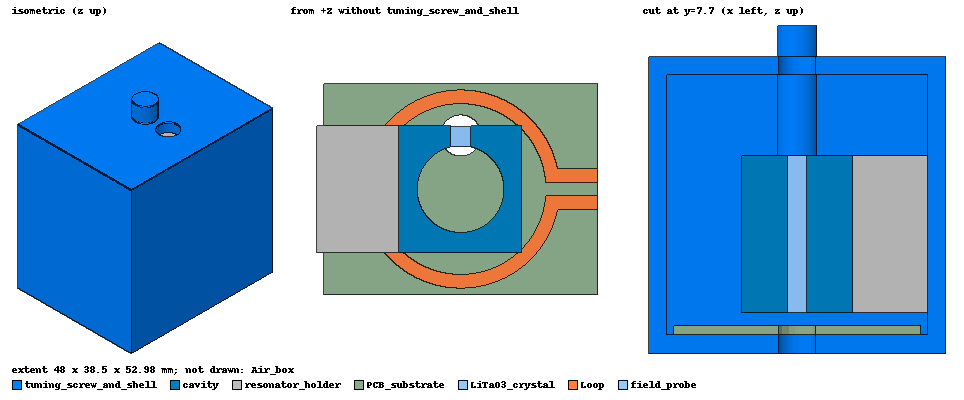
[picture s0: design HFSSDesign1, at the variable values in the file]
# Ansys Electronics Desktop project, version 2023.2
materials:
  vacuum: permittivity=1
  FR4_epoxy: permittivity=4.4 dielectric_loss_tangent=0.02
  air: permittivity=1.0006 permeability=1.0000004
  aluminum: permeability=1.000021 conductivity=38000000
  LiTaO3_fake: permittivity=41 delta_H_freq=1710000000
  steel_stainless: conductivity=1100000
  plexiglass: permittivity=3.4 dielectric_loss_tangent=0.001

design HFSSDesign1 (HFSS, HFSS Terminal Network, model units mm)
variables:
  pcb_x_dim = 40mm
  pcb_y_dim = 31mm
  pcb_z_dim = 1.57mm
  antenna_outer_R = 14.5mm
  antenna_inner_R = 12.5mm
  rect_subtract = 2mm
  air_x_dim = 50mm
  air_y_dim = 50mm
  air_z_dim = 80mm
  spacing = 2mm
  hollow_core_R = 6.35mm
  hollow_core_height = 25mm
  cavity_x_dim = 18mm
  cavity_y_dim = 18.5mm
  crystal_width = 3mm
  crystal_length = 25.41mm
  lip_width = 0.25mm
  shell_outer_X_dim = 36mm
  shell_outer_Y_dim = 36mm
  shell_thickness = 3mm
  shell_inner_X_dim = 42mm
  shell_inner_Y_dim = 32.5mm
  shell_inner_Z_dim = 42mm
  beam_hole_radius = 3mm
  tuning_screw_R = 3.175mm
  tuning_screw_length = 31mm
  tuning_screw_position = -10mm
  antenna_LC_space = pcb_z_dim + 2mm
  inductor_core_R = 2.5mm
  inductor_core_height = 25mm
  LC_x_dim = 10mm
  LC_y_dim = 10mm
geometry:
  PCB_substrate [FR4_epoxy] = box(corner=(-pcb_x_dim/2, -pcb_y_dim/2, 0mm), size=(pcb_x_dim, pcb_y_dim, pcb_z_dim))
  Circle1 = circle(normal=Z, centre=(0mm, 0mm, pcb_z_dim), radius=antenna_inner_R)
  Loop = circle(normal=Z, centre=(0mm, 0mm, pcb_z_dim), radius=antenna_outer_R)
  GND [FR4_epoxy] = object_from(PCB_substrate.face(-z))
  Loop.subtract(Circle1)
  Rectangle1 = rectangle(corner=(0mm, -rect_subtract/2, pcb_z_dim), x_size=pcb_x_dim/2, y_size=rect_subtract)
  Loop.subtract(Rectangle1)
  Rectangle2 = rectangle(corner=(antenna_inner_R, -rect_subtract/2, pcb_z_dim), x_size=pcb_x_dim/2 - antenna_inner_R, y_size=-2mm)
  Rectangle3 = rectangle(corner=(antenna_inner_R, rect_subtract/2, pcb_z_dim), x_size=pcb_x_dim/2 - antenna_inner_R, y_size=2mm)
  Rectangle4 = rectangle(corner=(pcb_x_dim/2, -1mm, 0), y_size=-2mm, z_size=pcb_z_dim)
  Source = rectangle(corner=(pcb_x_dim/2, 1mm, 0), y_size=2mm, z_size=pcb_z_dim)
  Loop.unite(Rectangle2, Rectangle3, Rectangle4)
  Air_box [air] = box(corner=(-air_x_dim/2, -air_y_dim/2, -air_z_dim/10), size=(air_x_dim, air_y_dim, air_z_dim))
  LiTaO3_crystal [LiTaO3_fake] = box(corner=(-crystal_width/2, hollow_core_R-0.15mm, spacing + pcb_z_dim), size=(crystal_width, crystal_width, crystal_length))
  shell_base = box(corner=(-(shell_inner_X_dim + 2*shell_thickness)/2, -(shell_inner_Y_dim + 2*shell_thickness)/2, 0mm), size=(shell_inner_X_dim + 2*shell_thickness, shell_inner_Y_dim + 2*shell_thickness, -shell_thickness))
  Box1 = box(corner=(-shell_inner_X_dim/2, -shell_inner_Y_dim/2, 0mm), size=(shell_inner_X_dim, shell_inner_Y_dim, shell_inner_Z_dim))
  shell_sides = box(corner=(-(shell_inner_X_dim + 2*shell_thickness)/2, -(shell_inner_Y_dim + 2*shell_thickness)/2, 0mm), size=(shell_inner_X_dim + 2*shell_thickness, shell_inner_Y_dim + 2*shell_thickness, shell_inner_Z_dim+shell_thickness))
  shell_sides.subtract(Box1)
  beam_hole_1 = cylinder(axis=Z, base_centre=(0, hollow_core_R + crystal_width/2, -shell_thickness), radius=beam_hole_radius, height=shell_thickness)
  beam_hole_2 = cylinder(axis=Z, base_centre=(0, crystal_width/2 + hollow_core_R, shell_inner_Z_dim), radius=beam_hole_radius, height=shell_thickness)
  shell_sides.subtract(beam_hole_2)
  shell_base.subtract(beam_hole_1)
  cavity [aluminum] = box(corner=(-cavity_x_dim/2, -cavity_y_dim/2, spacing + pcb_z_dim), size=(cavity_x_dim, cavity_y_dim, crystal_length))
  crystal_slot = box(corner=(-crystal_width/2, hollow_core_R-0.5mm, spacing + pcb_z_dim), size=(crystal_width, cavity_y_dim/2  - hollow_core_R+0.5mm, crystal_length))
  cavity.subtract(crystal_slot)
  cavity_core = cylinder(axis=Z, base_centre=(0mm, 0mm, spacing + pcb_z_dim), radius=hollow_core_R, height=crystal_length)
  cavity.subtract(cavity_core)
  field_probe = rectangle(corner=(-crystal_width/2, hollow_core_R-0.15mm, spacing+pcb_z_dim + crystal_length), x_size=3mm, y_size=3mm)
  pcb_beam_hole = cylinder(axis=Z, base_centre=(0mm, hollow_core_R + crystal_width/2, 0), radius=beam_hole_radius, height=pcb_z_dim)
  PCB_substrate.subtract(pcb_beam_hole)
  beam_hole_ground_plane = circle(normal=Z, centre=(0mm, hollow_core_R + crystal_width/2, 0mm), radius=beam_hole_radius)
  GND.subtract(beam_hole_ground_plane)
  tuning_screw_and_shell [aluminum] = cylinder(axis=Z, base_centre=(0mm, 0mm, spacing+pcb_z_dim+crystal_length+tuning_screw_position), radius=tuning_screw_R, height=tuning_screw_length)
  tuning_screw_1 = tuning_screw_and_shell.copy()
  shell_sides.subtract(tuning_screw_1)
  resonator_holder [plexiglass] = box(corner=(-cavity_x_dim/2, - cavity_y_dim/2, crystal_length + spacing + pcb_z_dim), size=(-shell_inner_X_dim/2 + cavity_x_dim/2, cavity_y_dim, -crystal_length))
  tuning_screw_and_shell.unite(shell_sides, shell_base)
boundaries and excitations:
  PerfE_Loop: Perfect E Objects=Loop
  radiation_box: Radiation Faces=Air_box.face(all 6)
  PerfE_Ground: Perfect E Objects=GND
  PerfE1: Perfect E Objects=tuning_screw_and_shell
  EOM_rf_drive: Lumped Port Objects=Source LumpedPortType=Modal Modes{Mode1{IntLine{(20, 2, 0) -> (20, 2, 1.57)} CharImp=Zpi RenormImp=50ohm}} Impedance=50ohm
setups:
  Setup1: HfssDriven Frequency=1.717GHz MaxDeltaS=0.02 MaximumPasses=6 MinimumPasses=1 MinimumConvergedPasses=1 PercentRefinement=30 BasisOrder=2 PortAccuracy=2 DrivenSolverType="Direct Solver"
    sweep Sweep: 1.7GHz to 1.8GHz, 401 points; Type=Interpolating SaveFields InterpTolerance=0.5 InterpMaxSolns=250 PassivityErrorTolerance=0.0001
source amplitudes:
  EOM_rf_drive:1: 4W 0deg
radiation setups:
  Infinite Sphere1: Infinite Sphere Theta=0deg..180deg step 2deg Phi=-180deg..180deg step 2deg
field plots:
  Vector_E1: E Field over field_probe.face on Setup1 : LastAdaptive at Freq=1.717GHz Phase=0deg
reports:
  Terminal S Parameter Plot 1: dB(St(EOM_rf_drive,EOM_rf_drive)) vs Freq on Setup1 : Sweep
